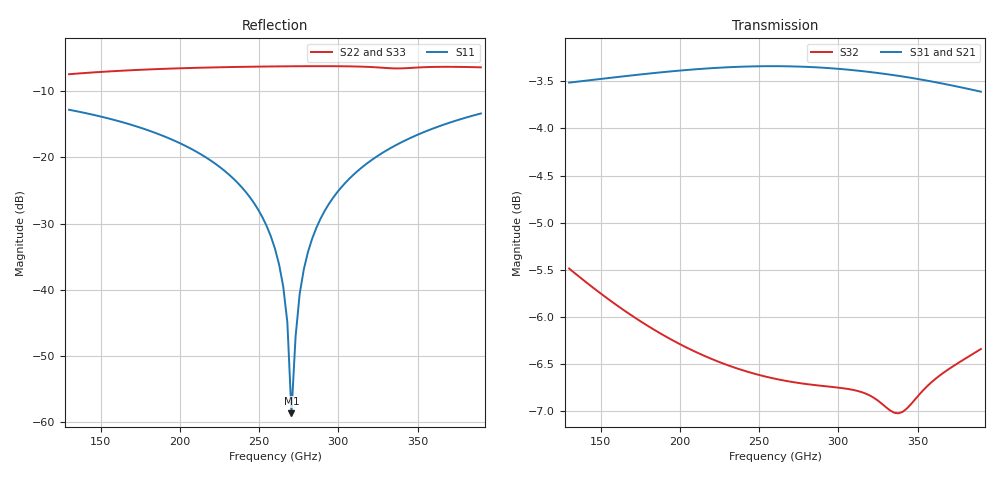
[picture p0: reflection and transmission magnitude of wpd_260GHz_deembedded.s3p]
! Created with skrf 2.2.0 (http://scikit-rf.org).
# GHz S DB R 50.0
! Port[1] = P1
! Port[2] = P2
! Port[3] = P3
!freq dBS11 angS11 dBS12 angS12 dBS13 angS13
! dBS21 angS21 dBS22 angS22 dBS23 angS23
! dBS31 angS31 dBS32 angS32 dBS33 angS33
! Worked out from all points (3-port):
!   101 points, 130 GHz to 390 GHz, reference 50 ohm
!   strongest paths, dB at 130 GHz, 195 GHz, 260 GHz, 325 GHz, 390 GHz:
!     S31: -3.5, -3.4, -3.3, -3.4, -3.6
!     S21: -3.5, -3.4, -3.3, -3.4, -3.6
!     S32: -5.5, -6.2, -6.7, -6.9, -6.3
!   lowest |S11| = -58.7 dB at 270.4 GHz (marker M1), VSWR 1.00, Z = 49.9 + j0.0503 ohm
!   |S11| at or under -10 dB: start of sweep to end of sweep
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130  -12.79 140.8  -3.52 -42.2  -3.51 -42.2
     -3.52 -42.2  -7.41 54.3  -5.49 -95.3
     -3.51 -42.2  -5.49 -95.3  -7.42 54.3
218.4  -20.30 114.3  -3.37 -72.1  -3.36 -72.2
       -3.37 -72.1  -6.40 11.8  -6.43 -151.0
       -3.36 -72.2  -6.43 -151.0  -6.41 11.7
260  -33.81 103.4  -3.35 -86.6  -3.34 -86.7
     -3.35 -86.6  -6.23 -4.2  -6.65 -176.4
     -3.34 -86.7  -6.65 -176.4  -6.24 -4.3
267.8  -44.93 108.1  -3.35 -89.3  -3.34 -89.4
       -3.35 -89.3  -6.22 -7.1  -6.68 178.8
       -3.34 -89.4  -6.68 178.8  -6.22 -7.2
270.4  -58.68 154.4  -3.35 -90.2  -3.34 -90.3
       -3.35 -90.2  -6.21 -8.0  -6.69 177.2
       -3.34 -90.3  -6.69 177.2  -6.22 -8.1
273  -47.07 -96.2  -3.35 -91.1  -3.34 -91.2
     -3.35 -91.1  -6.21 -9.0  -6.69 175.6
     -3.34 -91.2  -6.69 175.6  -6.21 -9.1
278.2  -36.90 -89.0  -3.35 -93.0  -3.35 -93.0
       -3.35 -93.0  -6.20 -10.9  -6.71 172.5
       -3.35 -93.0  -6.71 172.5  -6.21 -11.0
293.8  -27.11 -91.3  -3.36 -98.4  -3.36 -98.5
       -3.36 -98.4  -6.20 -16.6  -6.74 162.9
       -3.36 -98.5  -6.74 162.9  -6.20 -16.7
330.2  -18.96 -102.1  -3.43 -111.2  -3.42 -111.3
       -3.43 -111.2  -6.47 -29.6  -6.96 140.5
       -3.42 -111.3  -6.96 140.5  -6.47 -29.8
390  -13.35 -120.6  -3.61 -131.8  -3.61 -131.9
     -3.61 -131.8  -6.37 -51.3  -6.34 105.6
     -3.61 -131.9  -6.34 105.6  -6.36 -51.5
